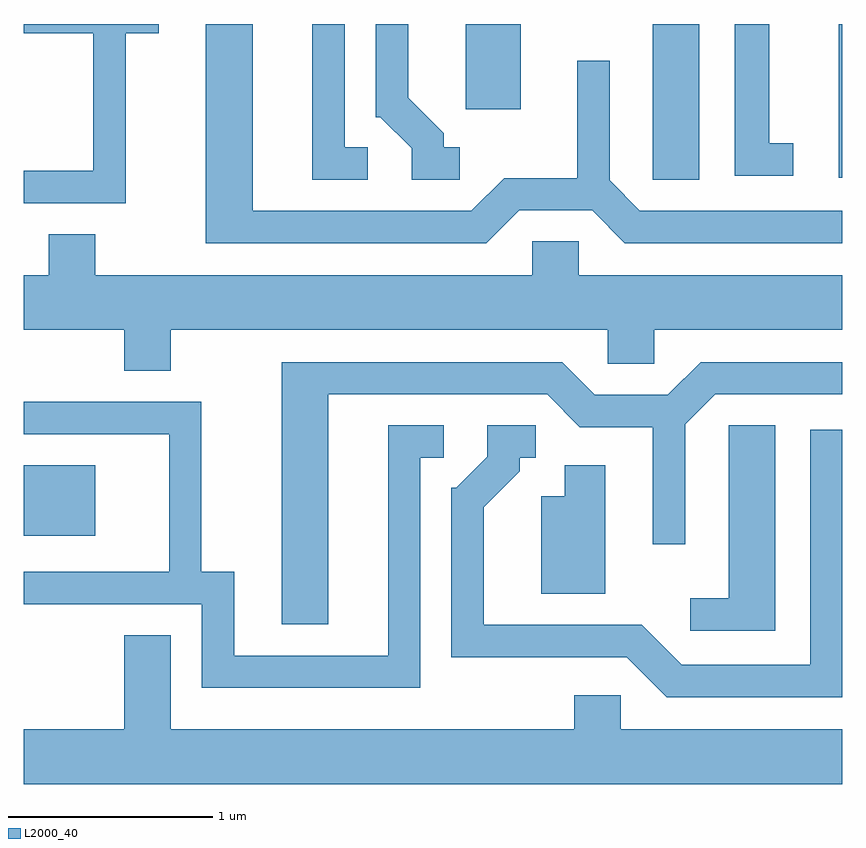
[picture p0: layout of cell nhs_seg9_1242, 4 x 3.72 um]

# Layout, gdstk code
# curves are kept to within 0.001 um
import gdstk
lib = gdstk.Library(unit=1e-6, precision=1e-09)
def R(c, l, rs):  # rectangles x0, y0, x1, y1
    for r in rs: c.add(gdstk.rectangle(r[:2], r[2:], *l))
def P(c, l, *ps):  # polygons
    for p in ps: c.add(gdstk.Polygon(p, *l))
L2000_40 = (2000, 40)

nhs_seg9_1242 = lib.new_cell('nhs_seg9_1242')
R(nhs_seg9_1242, L2000_40, [(221.611,1981.931,221.959,1982.274), (224.686,1983.671,224.914,1984.432), (225.596,1983.681,225.611,1984.432), (223.771,1984.016,224.039,1984.432)])
P(nhs_seg9_1242, L2000_40, [(224.032,1983.521),(224.389,1983.521),(224.549,1983.361),(225.611,1983.361),(225.611,1983.519),(224.622,1983.519),(224.474,1983.667),(224.474,1984.253),(224.316,1984.253),(224.316,1983.679),(223.959,1983.679),(223.799,1983.519),(222.729,1983.519),(222.729,1984.432),(222.501,1984.432),(222.501,1983.361),(223.872,1983.361)],
  [(223.743,1983.829),(223.664,1983.829),(223.664,1983.897),(223.489,1984.072),(223.489,1984.432),(223.331,1984.432),(223.331,1983.976),(223.354,1983.976),(223.506,1983.824),(223.506,1983.671),(223.743,1983.671)],
  [(225.373,1983.849),(225.254,1983.849),(225.254,1984.432),(225.086,1984.432),(225.086,1983.691),(225.373,1983.691)],
  [(223.293,1983.829),(223.179,1983.829),(223.179,1984.432),(223.021,1984.432),(223.021,1983.671),(223.293,1983.671)],
  [(222.109,1984.386),(222.269,1984.386),(222.269,1984.432),(221.611,1984.432),(221.611,1984.386),(221.951,1984.386),(221.951,1983.714),(221.611,1983.714),(221.611,1983.556),(222.109,1983.556)],
  [(222.329,1982.936),(224.466,1982.936),(224.466,1982.771),(224.694,1982.771),(224.694,1982.936),(225.611,1982.936),(225.611,1983.204),(224.324,1983.204),(224.324,1983.369),(224.096,1983.369),(224.096,1983.204),(221.959,1983.204),(221.959,1983.404),(221.731,1983.404),(221.731,1983.204),(221.611,1983.204),(221.611,1982.936),(222.101,1982.936),(222.101,1982.736),(222.329,1982.736)],
  [(223.099,1982.621),(224.169,1982.621),(224.329,1982.461),(224.686,1982.461),(224.686,1981.888),(224.844,1981.888),(224.844,1982.474),(224.992,1982.621),(225.611,1982.621),(225.611,1982.779),(224.919,1982.779),(224.759,1982.619),(224.402,1982.619),(224.242,1982.779),(222.871,1982.779),(222.871,1981.496),(223.099,1981.496)],
  [(223.549,1982.311),(223.663,1982.311),(223.663,1982.469),(223.391,1982.469),(223.391,1981.344),(222.639,1981.344),(222.639,1981.754),(222.479,1981.754),(222.479,1982.584),(221.611,1982.584),(221.611,1982.426),(222.321,1982.426),(222.321,1981.754),(221.611,1981.754),(221.611,1981.596),(222.481,1981.596),(222.481,1981.186),(223.549,1981.186)],
  [(225.284,1982.469),(225.056,1982.469),(225.056,1981.624),(224.868,1981.624),(224.868,1981.466),(225.284,1981.466)],
  [(225.611,1982.449),(225.456,1982.449),(225.456,1981.299),(224.827,1981.299),(224.632,1981.494),(223.859,1981.494),(223.859,1982.069),(224.034,1982.244),(224.034,1982.311),(224.113,1982.311),(224.113,1982.469),(223.876,1982.469),(223.876,1982.317),(223.724,1982.164),(223.701,1982.164),(223.701,1981.336),(224.559,1981.336),(224.754,1981.141),(225.611,1981.141)],
  [(224.454,1982.274),(224.256,1982.274),(224.256,1982.124),(224.141,1982.124),(224.141,1981.646),(224.454,1981.646)],
  [(225.611,1980.984),(224.529,1980.984),(224.529,1981.149),(224.301,1981.149),(224.301,1980.984),(222.329,1980.984),(222.329,1981.444),(222.101,1981.444),(222.101,1980.984),(221.611,1980.984),(221.611,1980.716),(225.611,1980.716)])

lib.write_gds('nhs_seg9_1242.gds')
